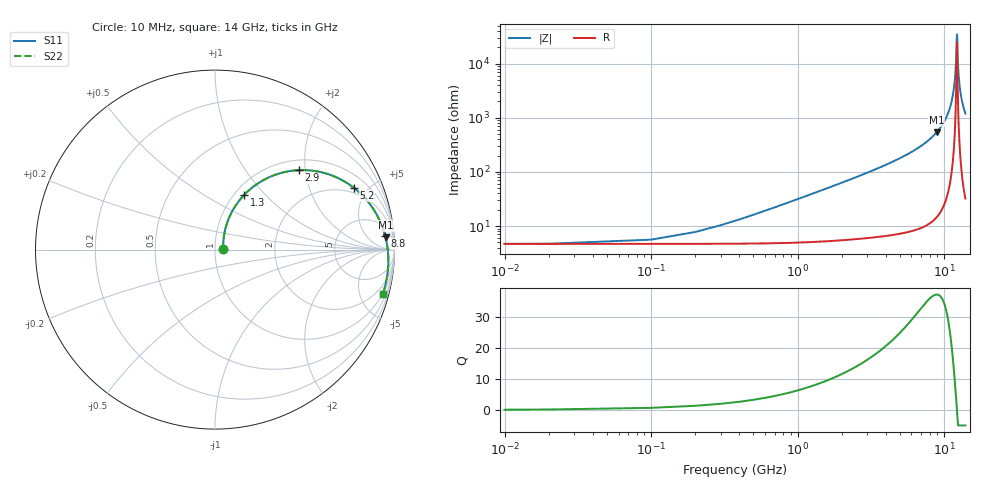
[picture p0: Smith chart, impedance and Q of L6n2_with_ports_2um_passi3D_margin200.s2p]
#  GHZ S DB R 50.0
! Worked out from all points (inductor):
!   142 points, 10 MHz to 14 GHz, reference 50 ohm
!   read as one part in series: L = 4.91 nH near 500 MHz
!   highest Q = 37.1 at 8.9 GHz (marker M1), where L = 9.6 nH
!   self-resonance near 12.2 GHz
!   S11 on the Smith chart (normalised r, x): 10 MHz: 1.09, +0.01; 1.3 GHz: 1.11, +0.77; 2.9 GHz: 1.22, +1.84; 5.2 GHz: 1.67, +4.06; 8.8 GHz: 11, +18; 14 GHz: 1.00, -7.56
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0.01  -26.97 3.3  -0.40 -0.2  -0.40 -0.2  -26.97 3.3
0.6  -15.41 65.8  -0.58 -10.7  -0.58 -10.7  -15.41 65.8
1.3  -9.19 61.9  -1.09 -22.1  -1.09 -22.1  -9.19 61.8
2.4  -4.92 49.0  -2.36 -37.5  -2.36 -37.5  -4.93 49.0
2.9  -3.85 43.6  -3.06 -43.4  -3.06 -43.4  -3.85 43.6
4.7  -1.76 27.6  -5.94 -60.4  -5.94 -60.4  -1.76 27.6
5.2  -1.44 24.0  -6.82 -64.1  -6.82 -64.1  -1.44 24.0
7.1  -0.73 12.6  -10.50 -75.8  -10.50 -75.8  -0.73 12.6
8.8  -0.43 4.6  -14.67 -83.9  -14.67 -83.9  -0.43 4.6
8.9  -0.42 4.1  -14.96 -84.4  -14.96 -84.4  -0.42 4.1
9.4  -0.37 2.0  -16.53 -86.4  -16.53 -86.4  -0.37 2.0
10.9  -0.28 -3.9  -23.44 -91.6  -23.44 -91.6  -0.28 -3.9
11.7  -0.26 -6.8  -31.34 -92.2  -31.34 -92.2  -0.26 -6.9
12  -0.26 -7.9  -38.01 -88.4  -38.01 -88.4  -0.26 -7.9
12.1  -0.26 -8.3  -42.09 -83.1  -42.09 -83.1  -0.26 -8.3
12.2  -0.26 -8.6  -49.25 -62.8  -49.25 -62.8  -0.26 -8.6
12.3  -0.26 -9.0  -51.05 35.8  -51.05 35.8  -0.26 -9.0
12.4  -0.26 -9.3  -43.10 64.4  -43.10 64.4  -0.26 -9.3
12.5  -0.26 -9.7  -38.71 70.7  -38.71 70.7  -0.26 -9.7
12.8  -0.26 -10.7  -31.86 75.1  -31.86 75.1  -0.26 -10.7
13.3  -0.27 -12.4  -26.30 75.4  -26.30 75.4  -0.27 -12.5
14  -0.29 -14.8  -21.96 73.9  -21.96 73.9  -0.30 -14.8
